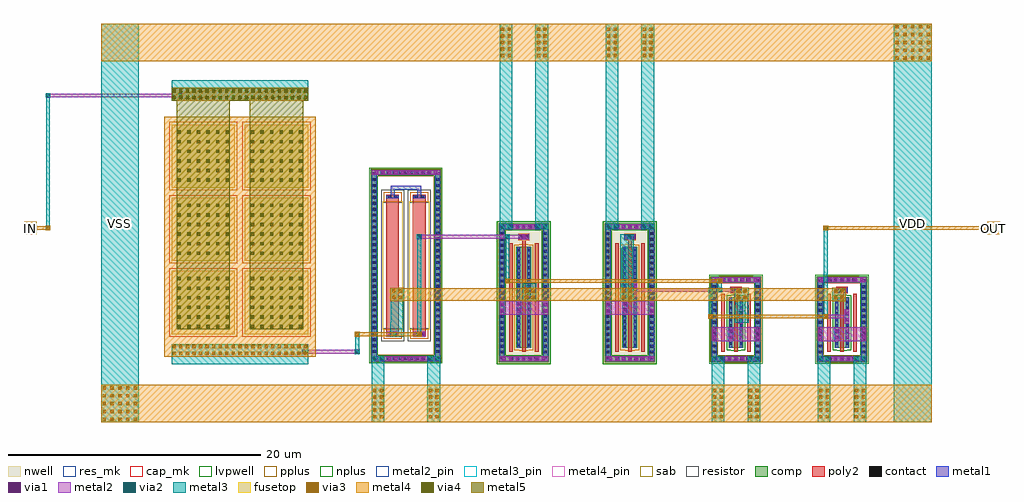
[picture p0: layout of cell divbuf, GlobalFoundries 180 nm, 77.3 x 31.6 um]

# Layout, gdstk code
import gdstk
lib = gdstk.Library(unit=1e-6, precision=1e-09)
def R(c, l, rs):  # rectangles x0, y0, x1, y1
    for r in rs: c.add(gdstk.rectangle(r[:2], r[2:], *l))
def A(c, l, x, y, w, h, nx, ny, dx, dy):  # array of equal rectangles
    R(c, l, [(x+i*dx, y+j*dy, x+i*dx+w, y+j*dy+h) for i in range(nx) for j in range(ny)])
nwell = (21, 0)
comp = (22, 0)
poly2 = (30, 0)
pplus = (31, 0)
nplus = (32, 0)
contact = (33, 0)
metal1 = (34, 0)
via1 = (35, 0)
metal2 = (36, 0)
metal2_pin = (36, 10)
via2 = (38, 0)
via3 = (40, 0)
via4 = (41, 0)
metal3 = (42, 0)
metal3_pin = (42, 10)
metal4 = (46, 0)
metal4_pin = (46, 10)
sab = (49, 0)
resistor = (62, 0)
fusetop = (75, 0)
metal5 = (81, 0)
res_mk = (110, 5)
cap_mk = (117, 5)
lvpwell = (204, 0)

divbuf_cin = lib.new_cell('divbuf_CIN')
A(divbuf_cin, via3, 0.07, -1.64, 0.26, 0.26, 21, 2, 0.52, 0.52)
A(divbuf_cin, via3, 0.07, 18.61, 0.26, 0.26, 21, 2, 0.52, 0.52)
A(divbuf_cin, via4, 0.47, 0.47, 0.26, 0.26, 6, 6, 0.76, 0.76)
A(divbuf_cin, via4, 6.27, 0.47, 0.26, 0.26, 6, 6, 0.76, 0.76)
A(divbuf_cin, via4, 0.47, 6.27, 0.26, 0.26, 6, 6, 0.76, 0.76)
A(divbuf_cin, via4, 6.27, 6.27, 0.26, 0.26, 6, 6, 0.76, 0.76)
A(divbuf_cin, via4, 0.47, 12.07, 0.26, 0.26, 6, 6, 0.76, 0.76)
A(divbuf_cin, via4, 6.27, 12.07, 0.26, 0.26, 6, 6, 0.76, 0.76)
A(divbuf_cin, via4, 0.07, 18.61, 0.26, 0.26, 21, 2, 0.52, 0.52)
R(divbuf_cin, metal3, [(0,-2.4,10.8,-0.8), (0,18.5,10.8,20.1)])
R(divbuf_cin, metal3_pin, [(0,-2.4,10.8,-0.8), (0,18.5,10.8,20.1)])
R(divbuf_cin, metal4, [(-0.6,-1.8,11.4,17.2), (0,18.5,10.8,19.5)])
A(divbuf_cin, fusetop, 0, 0, 5, 5, 1, 3, 0, 5.8)
A(divbuf_cin, fusetop, 5.8, 0, 5, 5, 1, 3, 0, 5.8)
R(divbuf_cin, metal5, [(0.39,0.39,4.61,18.5), (6.19,0.39,10.41,18.5), (0,18.5,10.8,19.5)])
A(divbuf_cin, cap_mk, -0.2, -0.2, 5.4, 5.4, 1, 3, 0, 5.8)
A(divbuf_cin, cap_mk, 5.6, -0.2, 5.4, 5.4, 1, 3, 0, 5.8)
divbuf_cin.add(gdstk.Label('IN', (5.4,19.3), layer=42, texttype=10))
divbuf_cin.add(gdstk.Label('a', (5.4,-1.6), layer=42, texttype=10))

divbuf_r1u_0 = lib.new_cell('divbuf_R1u_0')
R(divbuf_r1u_0, comp, [(-1.72,-2.2,3.82,-1.68), (-1.72,-1.68,-1.2,12.54), (3.3,-1.68,3.82,12.54), (-1.72,12.54,3.82,13.06)])
R(divbuf_r1u_0, poly2, [(-0.5,-0.18,0.5,11.04), (1.6,-0.18,2.6,11.04)])
R(divbuf_r1u_0, pplus, [(-1.06,-2.23,3.16,-2.22), (-1.74,-2.22,3.84,-2.175), (-1.75,-2.175,3.85,-1.65), (-1.75,-1.65,-1.17,12.51), (3.27,-1.65,3.85,12.51), (-0.7,-0.38,0.7,0.43), (1.4,-0.38,2.8,0.43), (-0.7,10.43,0.7,11.24), (1.4,10.43,2.8,11.24), (-1.75,12.51,3.85,13.035), (-1.74,13.035,3.84,13.08), (-1.06,13.08,3.16,13.09)])
A(divbuf_r1u_0, contact, -0.94, -2.05, 0.22, 0.22, 9, 2, 0.47, 14.74)
A(divbuf_r1u_0, contact, -1.57, -1.965, 0.22, 0.22, 1, 32, 0, 0.47)
A(divbuf_r1u_0, contact, 3.45, -1.965, 0.22, 0.22, 1, 32, 0, 0.47)
R(divbuf_r1u_0, contact, [(-0.345,-0.11,-0.125,0.11), (0.125,-0.11,0.345,0.11), (1.755,-0.11,1.975,0.11), (2.225,-0.11,2.445,0.11), (-0.345,10.75,-0.125,10.97), (0.125,10.75,0.345,10.97), (1.755,10.75,1.975,10.97), (2.225,10.75,2.445,10.97)])
R(divbuf_r1u_0, metal1, [(-1.655,-2.135,3.755,-1.745), (-1.655,-1.745,-1.265,12.605), (3.365,-1.745,3.755,12.605), (-0.49,-0.19,0.49,0.19), (1.61,-0.19,2.59,0.19), (-0.49,10.745,0.49,10.975), (1.61,10.745,2.59,10.975), (-0.15,10.975,0.15,11.44), (1.95,10.975,2.25,11.44), (-0.15,11.44,2.25,11.74), (-1.655,12.605,3.755,12.995)])
A(divbuf_r1u_0, via1, -1.42, -2.07, 0.26, 0.26, 10, 2, 0.52, 14.74)
R(divbuf_r1u_0, via1, [(-0.39,-0.13,-0.13,0.13), (0.13,-0.13,0.39,0.13), (1.71,-0.13,1.97,0.13), (2.23,-0.13,2.49,0.13)])
R(divbuf_r1u_0, metal2, [(-1.655,-2.135,3.755,-1.745), (-0.49,-0.19,0.49,0.19), (1.61,-0.19,2.59,0.19), (-1.655,12.605,3.755,12.995)])
R(divbuf_r1u_0, metal2_pin, [(-1.655,-2.135,3.755,-1.745), (-0.49,-0.19,0.49,0.19), (1.61,-0.19,2.59,0.19)])
R(divbuf_r1u_0, sab, [(-0.78,0.33,0.78,10.53), (1.32,0.33,2.88,10.53), (-0.78,0.43,0.78,10.43), (1.32,0.43,2.88,10.43)])
R(divbuf_r1u_0, resistor, [(-0.9,-0.58,0.9,11.44), (1.2,-0.58,3,11.44)])
R(divbuf_r1u_0, res_mk, [(-0.78,0.43,0.78,10.43), (-0.5,0.43,0.5,10.43), (1.32,0.43,2.88,10.43), (1.6,0.43,2.6,10.43)])
R(divbuf_r1u_0, lvpwell, [(-1.84,-2.32,3.94,13.18)])
divbuf_r1u_0.add(gdstk.Label('b', (0,0), layer=36, texttype=10))
divbuf_r1u_0.add(gdstk.Label('a', (2.1,0), layer=36, texttype=10))
divbuf_r1u_0.add(gdstk.Label('VSS', (1.05,-1.94), layer=36, texttype=10))

divbuf_mp1 = lib.new_cell('divbuf_MP1')
R(divbuf_mp1, nwell, [(-1.52,-0.94,2.69,10.295)])
R(divbuf_mp1, comp, [(-1.4,-0.82,2.57,-0.3), (-1.4,-0.3,-0.88,9.655), (2.05,-0.3,2.57,9.655), (0,0.3,1.17,8.3), (-1.4,9.655,2.57,10.175)])
R(divbuf_mp1, poly2, [(-0.58,0,-0.3,8.6), (0.445,0,0.725,8.845), (1.47,0,1.75,8.6), (0.135,8.845,1.035,9.355)])
R(divbuf_mp1, pplus, [(0.215,0.07,0.955,0.14), (-0.16,0.14,1.33,8.46), (0.215,8.46,0.955,8.53)])
R(divbuf_mp1, nplus, [(-1.56,-0.98,2.73,-0.27), (-1.56,-0.27,-0.85,9.625), (2.02,-0.27,2.73,9.625), (-1.56,9.625,2.73,10.335)])
A(divbuf_mp1, contact, -0.465, -0.67, 0.22, 0.22, 5, 2, 0.47, 10.475)
A(divbuf_mp1, contact, -1.25, -0.605, 0.22, 0.22, 1, 23, 0, 0.47)
A(divbuf_mp1, contact, 2.2, -0.605, 0.22, 0.22, 1, 23, 0, 0.47)
A(divbuf_mp1, contact, 0.07, 0.43, 0.22, 0.22, 1, 17, 0, 0.47)
A(divbuf_mp1, contact, 0.88, 0.43, 0.22, 0.22, 1, 17, 0, 0.47)
R(divbuf_mp1, contact, [(0.24,8.99,0.46,9.21), (0.71,8.99,0.93,9.21)])
R(divbuf_mp1, metal1, [(-1.335,-0.755,2.505,-0.365), (-1.335,-0.365,-0.945,9.72), (2.115,-0.365,2.505,9.72), (0.065,0.31,0.295,2.94), (0.875,0.31,1.105,4.34), (-0.01,2.94,0.37,4.06), (0.065,4.06,0.295,8.29), (0.8,4.34,1.18,5.46), (0.875,5.46,1.105,8.29), (0.145,8.91,1.025,9.29), (-1.335,9.72,2.505,10.11)])
A(divbuf_mp1, via1, -1.105, -0.69, 0.26, 0.26, 7, 2, 0.52, 10.475)
R(divbuf_mp1, via1, [(-1.27,3.11,-1.01,3.37), (0.05,3.11,0.31,3.37), (2.18,3.11,2.44,3.37), (-1.27,3.63,-1.01,3.89), (0.05,3.63,0.31,3.89), (2.18,3.63,2.44,3.89), (0.86,4.51,1.12,4.77), (0.86,5.03,1.12,5.29), (0.455,8.97,0.715,9.23)])
R(divbuf_mp1, metal2, [(-1.335,-0.755,2.505,-0.365), (-1.335,2.94,2.505,4.06), (0.8,4.34,1.18,5.46), (0.2,8.91,0.97,9.29), (-1.335,9.72,2.505,10.11)])
R(divbuf_mp1, metal2_pin, [(-1.335,-0.755,2.505,-0.365), (0.8,4.34,1.18,5.46), (0.2,8.91,0.97,9.29)])
divbuf_mp1.add(gdstk.Label('b', (0.99,4.9), layer=36, texttype=10))
divbuf_mp1.add(gdstk.Label('a', (0.585,9.1), layer=36, texttype=10))
divbuf_mp1.add(gdstk.Label('VDD', (0.585,-0.56), layer=36, texttype=10))

divbuf_mp2 = lib.new_cell('divbuf_MP2')
R(divbuf_mp2, nwell, [(-1.52,-0.94,2.69,10.295)])
R(divbuf_mp2, comp, [(-1.4,-0.82,2.57,-0.3), (-1.4,-0.3,-0.88,9.655), (2.05,-0.3,2.57,9.655), (0,0.3,1.17,8.3), (-1.4,9.655,2.57,10.175)])
R(divbuf_mp2, poly2, [(-0.58,0,-0.3,8.6), (0.445,0,0.725,8.845), (1.47,0,1.75,8.6), (0.135,8.845,1.035,9.355)])
R(divbuf_mp2, pplus, [(0.215,0.07,0.955,0.14), (-0.16,0.14,1.33,8.46), (0.215,8.46,0.955,8.53)])
R(divbuf_mp2, nplus, [(-1.56,-0.98,2.73,-0.27), (-1.56,-0.27,-0.85,9.625), (2.02,-0.27,2.73,9.625), (-1.56,9.625,2.73,10.335)])
A(divbuf_mp2, contact, -0.465, -0.67, 0.22, 0.22, 5, 2, 0.47, 10.475)
A(divbuf_mp2, contact, -1.25, -0.605, 0.22, 0.22, 1, 23, 0, 0.47)
A(divbuf_mp2, contact, 2.2, -0.605, 0.22, 0.22, 1, 23, 0, 0.47)
A(divbuf_mp2, contact, 0.07, 0.43, 0.22, 0.22, 1, 17, 0, 0.47)
A(divbuf_mp2, contact, 0.88, 0.43, 0.22, 0.22, 1, 17, 0, 0.47)
R(divbuf_mp2, contact, [(0.24,8.99,0.46,9.21), (0.71,8.99,0.93,9.21)])
R(divbuf_mp2, metal1, [(-1.335,-0.755,2.505,-0.365), (-1.335,-0.365,-0.945,9.72), (2.115,-0.365,2.505,9.72), (0.065,0.31,0.295,2.94), (0.875,0.31,1.105,4.34), (-0.01,2.94,0.37,4.06), (0.065,4.06,0.295,8.29), (0.8,4.34,1.18,5.46), (0.875,5.46,1.105,8.29), (0.145,8.91,1.025,9.29), (-1.335,9.72,2.505,10.11)])
A(divbuf_mp2, via1, -1.105, -0.69, 0.26, 0.26, 7, 2, 0.52, 10.475)
R(divbuf_mp2, via1, [(-1.27,3.11,-1.01,3.37), (0.05,3.11,0.31,3.37), (2.18,3.11,2.44,3.37), (-1.27,3.63,-1.01,3.89), (0.05,3.63,0.31,3.89), (2.18,3.63,2.44,3.89), (0.86,4.51,1.12,4.77), (0.86,5.03,1.12,5.29), (0.455,8.97,0.715,9.23)])
R(divbuf_mp2, metal2, [(-1.335,-0.755,2.505,-0.365), (-1.335,2.94,2.505,4.06), (0.8,4.34,1.18,5.46), (0.2,8.91,0.97,9.29), (-1.335,9.72,2.505,10.11)])
R(divbuf_mp2, metal2_pin, [(-1.335,-0.755,2.505,-0.365), (0.8,4.34,1.18,5.46), (0.2,8.91,0.97,9.29)])
divbuf_mp2.add(gdstk.Label('OUT', (0.99,4.9), layer=36, texttype=10))
divbuf_mp2.add(gdstk.Label('b', (0.585,9.1), layer=36, texttype=10))
divbuf_mp2.add(gdstk.Label('VDD', (0.585,-0.56), layer=36, texttype=10))

divbuf_mn1 = lib.new_cell('divbuf_MN1')
R(divbuf_mn1, comp, [(-1.4,-0.82,2.57,-0.3), (-1.4,-0.3,-0.88,5.455), (2.05,-0.3,2.57,5.455), (0,0.3,1.17,4.3), (-1.4,5.455,2.57,5.975)])
R(divbuf_mn1, poly2, [(-0.58,0,-0.3,4.6), (0.445,0,0.725,4.645), (1.47,0,1.75,4.6), (0.135,4.645,1.035,5.155)])
R(divbuf_mn1, pplus, [(-0.74,-0.85,1.91,-0.84), (-1.42,-0.84,2.59,-0.795), (-1.43,-0.795,2.6,-0.27), (-1.43,-0.27,-0.85,5.425), (2.02,-0.27,2.6,5.425), (-1.43,5.425,2.6,5.95), (-1.42,5.95,2.59,5.995), (-0.74,5.995,1.91,6.005)])
R(divbuf_mn1, nplus, [(0.215,0.07,0.955,0.14), (-0.16,0.14,1.33,4.46), (0.215,4.46,0.955,4.53)])
A(divbuf_mn1, contact, -0.465, -0.67, 0.22, 0.22, 5, 2, 0.47, 6.275)
A(divbuf_mn1, contact, -1.25, -0.59, 0.22, 0.22, 1, 14, 0, 0.47)
A(divbuf_mn1, contact, 2.2, -0.59, 0.22, 0.22, 1, 14, 0, 0.47)
A(divbuf_mn1, contact, 0.07, 0.545, 0.22, 0.22, 1, 8, 0, 0.47)
A(divbuf_mn1, contact, 0.88, 0.545, 0.22, 0.22, 1, 8, 0, 0.47)
R(divbuf_mn1, contact, [(0.24,4.79,0.46,5.01), (0.71,4.79,0.93,5.01)])
R(divbuf_mn1, metal1, [(-1.335,-0.755,2.505,-0.365), (-1.335,-0.365,-0.945,5.52), (2.115,-0.365,2.505,5.52), (0.065,0.31,0.295,0.84), (0.875,0.31,1.105,2.24), (-0.01,0.84,0.37,1.96), (0.065,1.96,0.295,4.29), (0.8,2.24,1.18,3.36), (0.875,3.36,1.105,4.29), (0.145,4.71,1.025,5.09), (-1.335,5.52,2.505,5.91)])
A(divbuf_mn1, via1, -1.105, -0.69, 0.26, 0.26, 7, 2, 0.52, 6.275)
R(divbuf_mn1, via1, [(-1.27,1.01,-1.01,1.27), (0.05,1.01,0.31,1.27), (2.18,1.01,2.44,1.27), (-1.27,1.53,-1.01,1.79), (0.05,1.53,0.31,1.79), (2.18,1.53,2.44,1.79), (0.86,2.41,1.12,2.67), (0.86,2.93,1.12,3.19), (0.455,4.77,0.715,5.03)])
R(divbuf_mn1, metal2, [(-1.335,-0.755,2.505,-0.365), (-1.335,0.84,2.505,1.96), (0.8,2.24,1.18,3.36), (0.2,4.71,0.97,5.09), (-1.335,5.52,2.505,5.91)])
R(divbuf_mn1, metal2_pin, [(-1.335,-0.755,2.505,-0.365), (0.8,2.24,1.18,3.36), (0.2,4.71,0.97,5.09)])
R(divbuf_mn1, lvpwell, [(-1.52,-0.94,2.69,6.095)])
divbuf_mn1.add(gdstk.Label('b', (0.99,2.8), layer=36, texttype=10))
divbuf_mn1.add(gdstk.Label('a', (0.585,4.9), layer=36, texttype=10))
divbuf_mn1.add(gdstk.Label('VSS', (0.585,-0.56), layer=36, texttype=10))

divbuf_mn2 = lib.new_cell('divbuf_MN2')
R(divbuf_mn2, comp, [(-1.4,-0.82,2.57,-0.3), (-1.4,-0.3,-0.88,5.455), (2.05,-0.3,2.57,5.455), (0,0.3,1.17,4.3), (-1.4,5.455,2.57,5.975)])
R(divbuf_mn2, poly2, [(-0.58,0,-0.3,4.6), (0.445,0,0.725,4.645), (1.47,0,1.75,4.6), (0.135,4.645,1.035,5.155)])
R(divbuf_mn2, pplus, [(-0.74,-0.85,1.91,-0.84), (-1.42,-0.84,2.59,-0.795), (-1.43,-0.795,2.6,-0.27), (-1.43,-0.27,-0.85,5.425), (2.02,-0.27,2.6,5.425), (-1.43,5.425,2.6,5.95), (-1.42,5.95,2.59,5.995), (-0.74,5.995,1.91,6.005)])
R(divbuf_mn2, nplus, [(0.215,0.07,0.955,0.14), (-0.16,0.14,1.33,4.46), (0.215,4.46,0.955,4.53)])
A(divbuf_mn2, contact, -0.465, -0.67, 0.22, 0.22, 5, 2, 0.47, 6.275)
A(divbuf_mn2, contact, -1.25, -0.59, 0.22, 0.22, 1, 14, 0, 0.47)
A(divbuf_mn2, contact, 2.2, -0.59, 0.22, 0.22, 1, 14, 0, 0.47)
A(divbuf_mn2, contact, 0.07, 0.545, 0.22, 0.22, 1, 8, 0, 0.47)
A(divbuf_mn2, contact, 0.88, 0.545, 0.22, 0.22, 1, 8, 0, 0.47)
R(divbuf_mn2, contact, [(0.24,4.79,0.46,5.01), (0.71,4.79,0.93,5.01)])
R(divbuf_mn2, metal1, [(-1.335,-0.755,2.505,-0.365), (-1.335,-0.365,-0.945,5.52), (2.115,-0.365,2.505,5.52), (0.065,0.31,0.295,0.84), (0.875,0.31,1.105,2.24), (-0.01,0.84,0.37,1.96), (0.065,1.96,0.295,4.29), (0.8,2.24,1.18,3.36), (0.875,3.36,1.105,4.29), (0.145,4.71,1.025,5.09), (-1.335,5.52,2.505,5.91)])
A(divbuf_mn2, via1, -1.105, -0.69, 0.26, 0.26, 7, 2, 0.52, 6.275)
R(divbuf_mn2, via1, [(-1.27,1.01,-1.01,1.27), (0.05,1.01,0.31,1.27), (2.18,1.01,2.44,1.27), (-1.27,1.53,-1.01,1.79), (0.05,1.53,0.31,1.79), (2.18,1.53,2.44,1.79), (0.86,2.41,1.12,2.67), (0.86,2.93,1.12,3.19), (0.455,4.77,0.715,5.03)])
R(divbuf_mn2, metal2, [(-1.335,-0.755,2.505,-0.365), (-1.335,0.84,2.505,1.96), (0.8,2.24,1.18,3.36), (0.2,4.71,0.97,5.09), (-1.335,5.52,2.505,5.91)])
R(divbuf_mn2, metal2_pin, [(-1.335,-0.755,2.505,-0.365), (0.8,2.24,1.18,3.36), (0.2,4.71,0.97,5.09)])
R(divbuf_mn2, lvpwell, [(-1.52,-0.94,2.69,6.095)])
divbuf_mn2.add(gdstk.Label('OUT', (0.99,2.8), layer=36, texttype=10))
divbuf_mn2.add(gdstk.Label('b', (0.585,4.9), layer=36, texttype=10))
divbuf_mn2.add(gdstk.Label('VSS', (0.585,-0.56), layer=36, texttype=10))

divbuf = lib.new_cell('divbuf')
R(divbuf, metal2, [(48.365,4.845,49.365,5.235), (51.205,4.845,52.205,5.235), (56.765,4.845,57.765,5.235), (59.605,4.845,60.605,5.235), (21.445,4.865,22.445,5.255), (25.855,4.865,26.855,5.255), (15.91,5.41,16.29,5.45), (20.11,5.41,20.49,5.45), (15.91,5.45,20.49,5.75), (15.91,5.75,16.29,5.79), (20.11,5.75,20.49,5.79), (22.91,6.81,23.59,7.19), (25.01,6.81,25.39,7.19), (50.5,7.88,50.88,8.96), (57.21,8.21,57.59,8.25), (57.21,8.25,58.95,8.55), (57.21,8.55,57.59,8.59), (33.7,9.94,34.08,11.02), (48.11,10.31,48.49,10.35), (48.81,10.31,49.19,10.35), (58.3,10.31,58.99,10.69), (41.85,10.35,48.49,10.65), (48.81,10.35,50.55,10.65), (48.11,10.65,48.49,10.69), (48.81,10.65,49.19,10.69), (25.01,14.51,25.39,14.55), (32.01,14.51,32.39,14.55), (41.5,14.51,42.19,14.89), (25.01,14.55,33.75,14.85), (25.01,14.85,25.39,14.89), (32.01,14.85,32.39,14.89), (31.565,15.32,32.565,15.71), (34.405,15.32,35.405,15.71), (39.965,15.32,40.965,15.71), (42.805,15.32,43.805,15.71), (-4.39,25.71,-4.01,25.75), (6.11,25.71,6.49,25.75), (-4.39,25.75,6.49,26.05), (-4.39,26.05,-4.01,26.09), (6.11,26.05,6.49,26.09)])
R(divbuf, via2, [(48.475,4.91,48.735,5.17), (48.995,4.91,49.255,5.17), (51.315,4.91,51.575,5.17), (51.835,4.91,52.095,5.17), (56.875,4.91,57.135,5.17), (57.395,4.91,57.655,5.17), (59.715,4.91,59.975,5.17), (60.235,4.91,60.495,5.17), (21.555,4.93,21.815,5.19), (22.075,4.93,22.335,5.19), (25.965,4.93,26.225,5.19), (26.485,4.93,26.745,5.19), (15.97,5.47,16.23,5.73), (20.17,5.47,20.43,5.73), (23.12,6.87,23.38,7.13), (25.07,6.87,25.33,7.13), (50.56,8.03,50.82,8.29), (57.27,8.27,57.53,8.53), (50.56,8.55,50.82,8.81), (33.76,10.09,34.02,10.35), (48.17,10.37,48.43,10.63), (48.87,10.37,49.13,10.63), (58.515,10.37,58.775,10.63), (33.76,10.61,34.02,10.87), (25.07,14.57,25.33,14.83), (32.07,14.57,32.33,14.83), (41.715,14.57,41.975,14.83), (31.675,15.385,31.935,15.645), (32.195,15.385,32.455,15.645), (34.515,15.385,34.775,15.645), (35.035,15.385,35.295,15.645), (40.075,15.385,40.335,15.645), (40.595,15.385,40.855,15.645), (42.915,15.385,43.175,15.645), (43.435,15.385,43.695,15.645), (-4.33,25.77,-4.07,26.03), (6.17,25.77,6.43,26.03)])
A(divbuf, via3, 0.13, 0.13, 0.26, 0.26, 5, 5, 0.62, 0.62)
A(divbuf, via3, 21.555, 0.33, 0.26, 0.26, 1, 5, 0, 0.52)
A(divbuf, via3, 22.075, 0.33, 0.26, 0.26, 1, 5, 0, 0.52)
A(divbuf, via3, 25.965, 0.33, 0.26, 0.26, 1, 5, 0, 0.52)
A(divbuf, via3, 26.485, 0.33, 0.26, 0.26, 1, 5, 0, 0.52)
A(divbuf, via3, 48.475, 0.33, 0.26, 0.26, 1, 5, 0, 0.52)
A(divbuf, via3, 48.995, 0.33, 0.26, 0.26, 1, 5, 0, 0.52)
A(divbuf, via3, 51.315, 0.33, 0.26, 0.26, 1, 5, 0, 0.52)
A(divbuf, via3, 51.835, 0.33, 0.26, 0.26, 1, 5, 0, 0.52)
A(divbuf, via3, 56.875, 0.33, 0.26, 0.26, 1, 5, 0, 0.52)
A(divbuf, via3, 57.395, 0.33, 0.26, 0.26, 1, 5, 0, 0.52)
A(divbuf, via3, 59.715, 0.33, 0.26, 0.26, 1, 5, 0, 0.52)
A(divbuf, via3, 60.235, 0.33, 0.26, 0.26, 1, 5, 0, 0.52)
A(divbuf, via3, 62.92, 28.73, 0.26, 0.26, 5, 5, 0.62, 0.62)
A(divbuf, via3, 31.675, 28.93, 0.26, 0.26, 1, 5, 0, 0.52)
A(divbuf, via3, 32.195, 28.93, 0.26, 0.26, 1, 5, 0, 0.52)
A(divbuf, via3, 34.515, 28.93, 0.26, 0.26, 1, 5, 0, 0.52)
A(divbuf, via3, 35.035, 28.93, 0.26, 0.26, 1, 5, 0, 0.52)
A(divbuf, via3, 40.075, 28.93, 0.26, 0.26, 1, 5, 0, 0.52)
A(divbuf, via3, 40.595, 28.93, 0.26, 0.26, 1, 5, 0, 0.52)
A(divbuf, via3, 42.915, 28.93, 0.26, 0.26, 1, 5, 0, 0.52)
A(divbuf, via3, 43.435, 28.93, 0.26, 0.26, 1, 5, 0, 0.52)
R(divbuf, via3, [(20.17,6.87,20.43,7.13), (25.07,6.87,25.33,7.13), (48.17,8.27,48.43,8.53), (57.27,8.27,57.53,8.53), (23.06,9.76,23.32,10.02), (23.58,9.76,23.84,10.02), (33.56,9.76,33.82,10.02), (34.08,9.76,34.34,10.02), (41.26,9.76,41.52,10.02), (41.78,9.76,42.04,10.02), (50.36,9.76,50.62,10.02), (50.88,9.76,51.14,10.02), (58.06,9.76,58.32,10.02), (58.58,9.76,58.84,10.02), (23.06,10.28,23.32,10.54), (23.58,10.28,23.84,10.54), (33.56,10.28,33.82,10.54), (34.08,10.28,34.34,10.54), (41.26,10.28,41.52,10.54), (41.78,10.28,42.04,10.54), (50.36,10.28,50.62,10.54), (50.88,10.28,51.14,10.54), (58.06,10.28,58.32,10.54), (58.58,10.28,58.84,10.54), (32.07,11.07,32.33,11.33), (48.87,11.07,49.13,11.33), (-4.33,15.27,-4.07,15.53), (57.27,15.27,57.53,15.53)])
R(divbuf, metal3, [(0,0,3,31.6), (21.445,0,22.445,5.255), (25.855,0,26.855,5.255), (48.365,0,49.365,5.235), (51.205,0,52.205,5.235), (56.765,0,57.765,5.235), (59.605,0,60.605,5.235), (62.79,0,65.79,31.6), (15.91,5.41,16.29,5.79), (20.11,5.41,20.49,5.79), (20.15,5.79,20.45,6.81), (20.11,6.81,20.49,7.19), (22.91,6.81,23.99,7.89), (25.01,6.81,25.39,7.19), (25.05,7.19,25.35,14.51), (50.21,7.88,51.29,9.29), (22.95,7.89,23.95,9.61), (48.11,8.21,48.49,8.59), (57.21,8.21,57.59,8.59), (48.15,8.59,48.45,10.31), (57.25,8.59,57.55,15.21), (50.25,9.29,51.25,9.61), (22.91,9.61,23.99,10.69), (33.41,9.61,34.49,11.02), (41.11,9.61,42.19,10.69), (50.21,9.61,51.29,10.69), (57.91,9.61,58.99,10.69), (48.11,10.31,48.49,10.69), (48.81,10.31,49.19,10.69), (41.15,10.69,42.15,13.81), (48.85,10.69,49.15,11.01), (32.01,11.01,32.39,11.39), (48.81,11.01,49.19,11.39), (32.05,11.39,32.35,14.51), (41.11,13.81,42.19,14.89), (25.01,14.51,25.39,14.89), (32.01,14.51,32.39,14.89), (-4.39,15.21,-4.01,15.59), (57.21,15.21,57.59,15.59), (31.565,15.32,32.565,31.6), (34.405,15.32,35.405,31.6), (39.965,15.32,40.965,31.6), (42.805,15.32,43.805,31.6), (-4.35,15.59,-4.05,25.71), (-4.39,25.71,-4.01,26.09), (6.11,25.71,6.49,26.09)])
R(divbuf, metal3_pin, [(0,0,3,31.6), (62.79,0,65.79,31.6)])
R(divbuf, metal4, [(0,0,65.79,3), (20.11,6.81,20.49,6.85), (25.01,6.81,25.39,6.85), (20.11,6.85,25.39,7.15), (20.11,7.15,20.49,7.19), (25.01,7.15,25.39,7.19), (48.11,8.21,48.49,8.25), (57.21,8.21,57.59,8.25), (48.11,8.25,57.59,8.55), (48.11,8.55,48.49,8.59), (57.21,8.55,57.59,8.59), (22.91,9.61,23.99,9.65), (33.41,9.61,34.49,9.65), (41.11,9.61,42.19,9.65), (50.21,9.61,51.29,9.65), (57.91,9.61,58.99,9.65), (22.91,9.65,58.99,10.65), (22.91,10.65,23.99,10.69), (33.41,10.65,34.49,10.69), (41.11,10.65,42.19,10.69), (50.21,10.65,51.29,10.69), (57.91,10.65,58.99,10.69), (32.01,11.01,32.39,11.05), (48.81,11.01,49.19,11.05), (32.01,11.05,49.19,11.35), (32.01,11.35,32.39,11.39), (48.81,11.35,49.19,11.39), (-6.1,14.9,-5.1,15.25), (70.2,14.9,71.2,15.25), (-4.39,15.21,-4.01,15.25), (57.21,15.21,57.59,15.25), (-6.1,15.25,-4.01,15.55), (57.21,15.25,71.2,15.55), (-6.1,15.55,-5.1,15.9), (-4.39,15.55,-4.01,15.59), (57.21,15.55,57.59,15.59), (70.2,15.55,71.2,15.9), (0,28.6,65.79,31.6)])
R(divbuf, metal4_pin, [(-6.1,14.9,-5.1,15.9), (70.2,14.9,71.2,15.9)])
divbuf.add(gdstk.Reference(divbuf_cin, (5.6,7)))
divbuf.add(gdstk.Reference(divbuf_r1u_0, (23.1,7)))
divbuf.add(gdstk.Reference(divbuf_mp1, (32.9,5.6)))
divbuf.add(gdstk.Reference(divbuf_mp2, (41.3,5.6)))
divbuf.add(gdstk.Reference(divbuf_mn1, (49.7,5.6)))
divbuf.add(gdstk.Reference(divbuf_mn2, (58.1,5.6)))
divbuf.add(gdstk.Label('VSS', (1.5,15.8), layer=42, texttype=10))
divbuf.add(gdstk.Label('VDD', (64.29,15.8), layer=42, texttype=10))
divbuf.add(gdstk.Label('IN', (-5.6,15.4), layer=46, texttype=10))
divbuf.add(gdstk.Label('OUT', (70.7,15.4), layer=46, texttype=10))

lib.write_gds('divbuf.gds')
